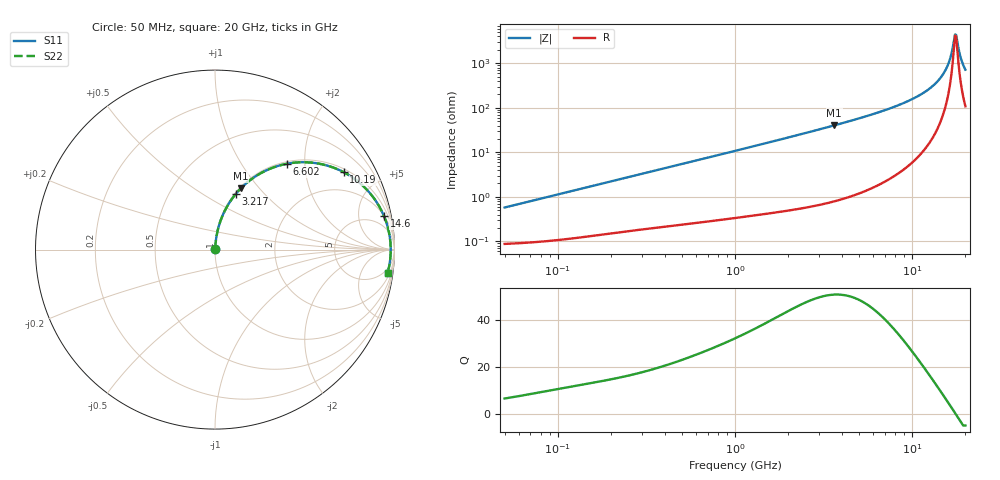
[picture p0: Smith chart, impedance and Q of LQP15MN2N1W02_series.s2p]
!Murata Part Number: LQP15MN2N1W02
!These Parameters are Measured in Series Mode Connection
!  o--[Z]--o
!Port1  Port2
!  o-------o
!Freq. Start=50[MHz] Stop=20[GHz], 401[Steps]
# Hz S RI R 50
!Freq.(Hz) S11(Real) S11(Imag) S21(Real) S21(Imag) S12(Real) S12(Imag) S22(Real) S22(Imag)
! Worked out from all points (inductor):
!   401 points, 50 MHz to 20 GHz, reference 50 ohm
!   read as one part in series: L = 1.81 nH near 51.52 MHz
!   highest Q = 50.8 at 3.626 GHz (marker M1), where L = 1.76 nH
!   self-resonance near 17.48 GHz
!   S11 on the Smith chart (normalised r, x): 50 MHz: 1.00, +0.01; 3.217 GHz: 1.01, +0.71; 6.602 GHz: 1.04, +1.63; 10.19 GHz: 1.13, +3.25; 14.6 GHz: 2, +10; 20 GHz: 3, -14
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5e7  0.00091 0.00569  0.9991 -0.00569  0.9991 -0.00569  0.00091 0.00569
1.364002e8  0.00147 0.0153  0.9985 -0.0153  0.9985 -0.0153  0.00147 0.0153
3.721004e8  0.0037 0.0405  0.9963 -0.0405  0.9963 -0.0405  0.0037 0.0405
1e9  0.0147 0.1058  0.9853 -0.1058  0.9853 -0.1058  0.0147 0.1058
2.728004e9  0.0858 0.27  0.9142 -0.27  0.9142 -0.27  0.0858 0.27
3.216634e9  0.1159 0.3103  0.8841 -0.3103  0.8841 -0.3103  0.1159 0.3103
3.626126e9  0.144 0.3414  0.856 -0.3414  0.856 -0.3414  0.144 0.3414
4.966507e9  0.2512 0.4236  0.7488 -0.4236  0.7488 -0.4236  0.2512 0.4236
6.601595e9  0.4012 0.4784  0.5988 -0.4784  0.5988 -0.4784  0.4012 0.4784
7.442007e9  0.4805 0.4867  0.5195 -0.4867  0.5195 -0.4867  0.4805 0.4867
1.019291e10  0.7178 0.4311  0.2822 -0.4311  0.2822 -0.4311  0.7178 0.4311
1.257102e10  0.8661 0.3112  0.1339 -0.3112  0.1339 -0.3112  0.8661 0.3112
1.460232e10  0.9421 0.1855  0.0579 -0.1855  0.0579 -0.1855  0.9421 0.1855
1.527346e10  0.9575 0.1427  0.0425 -0.1427  0.0425 -0.1427  0.9575 0.1427
1.597544e10  0.9689 0.0984  0.0311 -0.0984  0.0311 -0.0984  0.9689 0.0984
1.646126e10  0.9742 0.0683  0.0258 -0.0683  0.0258 -0.0683  0.9742 0.0683
1.721783e10  0.9786 0.0224  0.0214 -0.0224  0.0214 -0.0224  0.9786 0.0224
1.747767e10  0.9791 0.00697  0.0209 -0.00697  0.0209 -0.00697  0.9791 0.00697
1.774144e10  0.9791 -0.00843  0.0209 0.00843  0.0209 0.00843  0.9791 -0.00843
1.800918e10  0.9786 -0.0238  0.0214 0.0238  0.0214 0.0238  0.9786 -0.0238
1.912117e10  0.9719 -0.0849  0.0281 0.0849  0.0281 0.0849  0.9719 -0.0849
2e10  0.9619 -0.1297  0.0381 0.1297  0.0381 0.1297  0.9619 -0.1297
